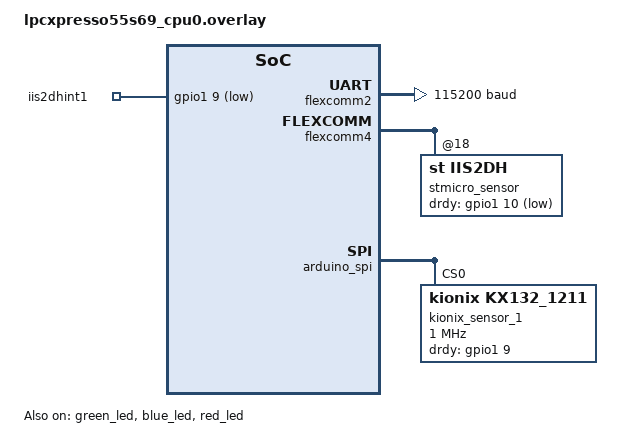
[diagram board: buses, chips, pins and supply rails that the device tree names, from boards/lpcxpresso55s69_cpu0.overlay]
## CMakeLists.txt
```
# ----------------------------------------------------------------------
# 
#   Project:  Kionix driver demo
# 
#   File:  CMakeLists.txt
# 
#   SPDX-License-Identifier: Apache-2.0
# 
#   Copyright (c) Neela Nurseries 2021 - 2022
# 
# ----------------------------------------------------------------------



# ----------------------------------------------------------------------
# - SECTION - the four stanzas from a Zephyr 'hello_world' simple app
# ----------------------------------------------------------------------

cmake_minimum_required(VERSION 3.20.0)

find_package(Zephyr REQUIRED HINTS $ENV{ZEPHYR_BASE})
project(hello_world)

#target_sources(app PRIVATE src/main.c)



# ----------------------------------------------------------------------
# - SECTION - development messages
# ----------------------------------------------------------------------

message(STATUS "- DEV 0923 - variable ZEPHYR_BASE holds '${ZEPHYR_BASE}'")



# ----------------------------------------------------------------------
# - SECTION - project sources
# ----------------------------------------------------------------------

# Originally called Kionix out-of-tree driver code (no new thread yet created to do this):
target_sources(app PRIVATE src/main.c)




## 2021-11-11
## https://stackoverflow.com/questions/31343813/displaying-cmake-variables

macro(print_all_variables)
    message(STATUS "print_all_variables------------------------------------------{")
    get_cmake_property(_variableNames VARIABLES)
    foreach (_variableName ${_variableNames})
        message(STATUS "${_variableName}=${${_variableName}}")
    endforeach()
    message(STATUS "print_all_variables------------------------------------------}")
endmacro()

#print_all_variables()


# --- end of CMakeLists.txt file ---
```

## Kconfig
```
# ----------------------------------------------------------------------
# 
#   Project:  Kionix driver demo
# 
#   File:  Kconfig
# 
#   SPDX-License-Identifier: Apache-2.0
# 
#   Copyright (c) Neela Nurseries 2021 - 2022
# 
# ----------------------------------------------------------------------

mainmenu "Kionix Driver Demo -- samples -- kionix demo minimal"

source "Kconfig.zephyr"
```

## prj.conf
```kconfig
# ----------------------------------------------------------------------
# 
#   Project:  Kionix driver demo
# 
#   File:  prj.conf
# 
#   SPDX-License-Identifier: Apache-2.0
# 
#   Copyright (c) Neela Nurseries 2021 - 2022
# 
# ----------------------------------------------------------------------



##----------------------------------------------------------------------
## - SECTION - memory 
##----------------------------------------------------------------------

# Heap and stacks
CONFIG_INIT_STACKS=y
CONFIG_MAIN_STACK_SIZE=2048


##----------------------------------------------------------------------
## - SECTION - logging and diag support
##----------------------------------------------------------------------

# Logging
CONFIG_LOG=y
CONFIG_LOG_MODE_IMMEDIATE=y
CONFIG_SERIAL=y
CONFIG_CONSOLE=y
CONFIG_UART_CONSOLE=y
CONFIG_LOG_BACKEND_UART=y

CONFIG_CBPRINTF_FP_SUPPORT=y


##----------------------------------------------------------------------
## - SECTION - peripherals and on-chip functions
##----------------------------------------------------------------------

# CONFIG_SENSOR_LOG_LEVEL_DBG=y

# GPIO
CONFIG_GPIO=y

# Sensor related
CONFIG_I2C=y
CONFIG_SPI=y
CONFIG_SENSOR=y

CONFIG_KX132_1211=y

# 2022-11-23:
#CONFIG_KX132_TRIGGER=n
#CONFIG_KX132_TRIGGER_NONE=y    . . . this config option builds and runs
#CONFIG_KX132_TRIGGER_GLOBAL_THREAD=y
CONFIG_KX132_TRIGGER_OWN_THREAD=y


# --- EOF ---
```

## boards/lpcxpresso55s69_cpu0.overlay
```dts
/*
# lpc55x69 dev kit dts file of interest is zephyr/boards/arm/lpcxpresso55s69/lpcxpresso55s69.dtsi
*/

/ {
    aliases {
        uart2 = &flexcomm2;
        i2c0 = &flexcomm4;
        sensorinterrupt1 = &iis2dhint1;
        kx132-instance-1 = &kionix_sensor_1;
    };
};



&green_led {
    status = "okay";
};

&blue_led {
    status = "okay";
};

&red_led {
    status = "okay";
};


/*
# Reference - file where flexcomm nodes enabled for lpc55s69 MCU:
# zephyr/boards/arm/lpcxpresso55s69/lpcxpresso55s69_cpu0.dts
#
# In spite of comment at
# REF https://github.com/zephyrproject-rtos/zephyr/blob/main/boards/arm/lpcxpresso55s69/lpcxpresso55s69-pinctrl.dtsi#L21
# SPI transceive calls work as expected with &flexcomm2 enabled as UART device - TMH
*/

&flexcomm2 {
    compatible = "nxp,lpc-usart";
    current-speed = <115200>;
    status = "okay";
};



/*
# See actinius_icarus_common.dts for example of calling out interrupt
#  lines for related LIS2DH sensor.
# See LPCXpresso55S69_Board_Schematic_RevA2_dec4.pdf for GPIOs available
#  on lpcxpresso55s69 dev kit.

# 2022-12-01 - We know &gpio1 pin 9 works as IIS2DH interrupt, which
#  is configured active low.  So per above linked schematic we can safely
#  assume PIO1_10 (gpio1 pin 10) will work as well, but we must review
#  KX132 datasheet for interrupt active level - TMH
#
#   Looks like KX132-1211-Technical-Reference-Manual-Rev-5.0.pdf page 27
#  talks about INC1 bit 4, IEA1 bit determines whether interrupt is
#  active ow or active high.
*/

&flexcomm4 {
/*
#        kionix_sensor_1: kx132@1f {
#                compatible = "kionix,kx132_1211";
#                reg = <0x1F>;
#                drdy-gpios = <&gpio1 9 GPIO_ACTIVE_HIGH>;
#        };
*/

/*
# Note:  Ted unsure whether 'interrupt-parent' node property needed to support interrupts
*/
        stmicro_sensor: iis2dh@18 {
                compatible = "st,iis2dh";
                reg = <0x18>;
                interrupt-parent = <&gpio1>;
                drdy-gpios = <&gpio1 10 GPIO_ACTIVE_LOW>;
        };
};



/*
# 2022-11-08 work to manually add an interrupt in Zephyr code testing IIS2DH, outside of sensor API calls.
# Note:  idea and code here borrowed from zephyr/samples/basic/button project.
*/

/ {
        sensor_interrupts {
                compatible = "gpio-keys";
                iis2dhint1: iis2dh_int1 {
                        gpios = < &gpio1 9 (GPIO_PULL_UP | GPIO_ACTIVE_LOW)>;
                };
                /* ... other buttons ... */
        };
};



/*
# ----------------------------------------------------------------------
# 2022-11-09 - Move of IIS2DH from I2C bus to SPI bus . . .
# REF zephyr/boards/arm/lpcxpresso55s69/lpcxpresso55s69.dtsi
# Note, 'arduino_spi' is a nodelabel for &hs_lspi, defined as follows:
#
# 207 &hs_lspi {
# 208         pinctrl-0 = <&pinmux_hs_lspi_default>;
# 209         pinctrl-names = "default";
# 210 };
#
# some further definition of &hs_lspi node in file ___:
#
# 122 &hs_lspi {
# 123         status = "okay";
# 124         dmas = <&dma0 2>, <&dma0 3>;
# 125         dma-names = "rx", "tx";
# 126         cs-gpios = <&gpio1 1 GPIO_ACTIVE_LOW>;
# 127 };
#
# Compilation artifact [project]/build/zephyr/zephyr.dts shows some additional
# dts node properties but the important thing is that we can see from
# these two NXP dts board files that &hs_lspi is enabled.
# ----------------------------------------------------------------------
*/

&arduino_spi {
/*
#        iis2dh@0 {
#                compatible = "st,iis2dh";
#                reg = <0>;
#                spi-max-frequency = <250000>; / *** conservatively set to 1MHz *** /
#                status = "okay";
#        };
*/
        kionix_sensor_1: kx132@0 {
                compatible = "kionix,kx132_1211";
                reg = <0>;
                spi-max-frequency = <1000000>;
                drdy-gpios = <&gpio1 9 GPIO_ACTIVE_HIGH>;
        };
};


/* From project build artifact 'zephyr.dts', combines lpcxpresso55s69.dtsi and lpcxpresso55s69-pinctrl.dtsi:
# hs_lspi: arduino_spi: mikrobus_spi: spi@9f000 { ... };
*/

/*
# Overlay entry to free GPIO pins P0_26, P1_1, P1_2, P1_3 for general purpose use:

# &hs_lspi {
#     status = "disabled";
# };
*/
```

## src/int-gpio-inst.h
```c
// - DEV 1127 -
//
// 503 /* Create the struct device for every status "okay"*/
// 504 DT_INST_FOREACH_STATUS_OKAY(KX132_DEFINE)

#define DT_DRV_COMPAT kionix_kx132_1211

/*
#define KX132_DRDY_INTERRUPT_DEFINE(inst) \
static const struct gpio_dt_spec int_gpio_diag1 = GPIO_DT_SPEC_INST_GET_OR(inst, drdy_gpios, { 0 });
//const struct gpio_dt_spec int_gpio_##inst = GPIO_DT_SPEC_INST_GET_OR(inst, drdy_gpios, { 0 });
*/

#define KX132_DRDY_INTERRUPT_DEFINE(inst) \
static const struct gpio_dt_spec int_gpio_diag1 = GPIO_DT_SPEC_INST_GET_OR(inst, drdy_gpios, { 0 }); \
IF_ENABLED(CONFIG_KX132_TRIGGER_NONE, \
 (static const struct gpio_dt_spec int_gpio_conditionally_compiled = GPIO_DT_SPEC_INST_GET_OR(0, drdy_gpios, { 0 }); ) \
)


DT_INST_FOREACH_STATUS_OKAY(KX132_DRDY_INTERRUPT_DEFINE)



// - EOF -
```

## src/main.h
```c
#ifndef KIONIX_KX132_DEMO__MAIN_H
#define KIONIX_KX132_DEMO__MAIN_H



enum kionix_demo_return_values_e
{
    KX132_DEMO_ROUTINE_OK,
    KX132_DEMO__ZEPHYR_DEVICE_POINTER_NULL,
    KX132_DEMO__SENSOR_TRIGGER_ROUTINE_SET_FAILED,

    KX132_DEMO__LAST_ENUMERATED_RETURN_VALUE
};



#endif // KIONIX_KX132_DEMO__MAIN_H
```
